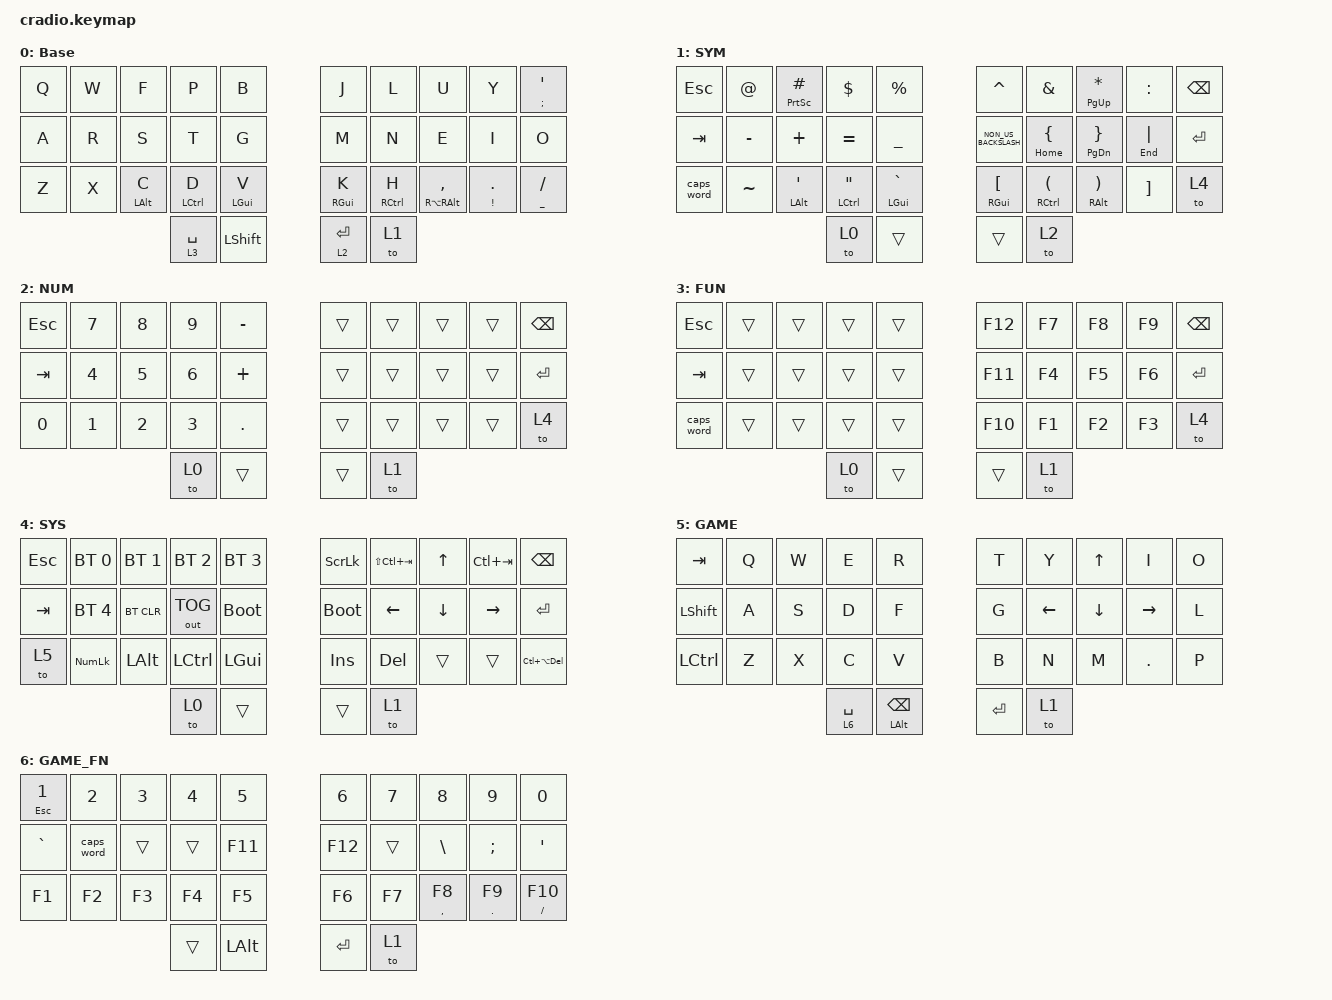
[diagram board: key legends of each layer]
/*
 * Copyright (c) 2020 The ZMK Contributors
 *
 * SPDX-License-Identifier: MIT
 */

#define ZMK_POINTING_DEFAULT_MOVE_VAL 2500  // 600
#define ZMK_POINTING_DEFAULT_SCRL_VAL 20    // 10

#include <behaviors.dtsi>
#include <dt-bindings/zmk/bt.h>
#include <dt-bindings/zmk/keys.h>
#include <dt-bindings/zmk/outputs.h>

// Layer definitions

#define BASE 0
#define SYM 1
#define EXT 2
#define FNC 3
#define SYM2 4
#define ACCENT 5
#define SETTINGS 6

// -----------------

&mt {
    //  flavor = "tap-preferred";
    // tapping_term_ms = <200>;
};

&sk { ignore-modifiers; };

/ {
    macros {
        // sometimes my device thinks a modifier is being held down
        // pressing all modifiers fixes it.

        unstick: unstick {
            label = "ZM_unstick";
            compatible = "zmk,behavior-macro";
            #binding-cells = <0>;
            bindings = <&kp LSHIFT &kp RSHIFT &kp LCTRL &kp RCTRL &kp LALT &kp RALT &kp LGUI &kp RGUI>;
        };
    };

    combos {
        compatible = "zmk,combos";

        // both right thumb keys

        combo_accent {
            timeout-ms = <300>;
            key-positions = <32 33>;
            bindings = <&mo 6>;
        };

        // internal-left & external-right thumb keys

        combo_sym2 {
            timeout-ms = <200>;
            key-positions = <31 33>;
            bindings = <&mo 4>;
        };

        // both left thumb keys

        combo_settings {
            timeout-ms = <300>;
            key-positions = <30 31>;
            bindings = <&mo 0>;
        };

        Cut {
            bindings = <&kp LC(X)>;
            key-positions = <20 21 22>;
        };

        copy {
            bindings = <&kp LC(C)>;
            key-positions = <21 22 23>;
        };

        paste {
            bindings = <&kp LC(V)>;
            key-positions = <24 23 22>;
        };
    };

    keymap {
        compatible = "zmk,keymap";

        // Base alpha layer

        Base {
            bindings = <
&kp Q  &kp W  &kp F           &kp P        &kp B             &kp J            &kp L        &kp U                    &kp Y                   &mt SEMICOLON SQT
&kp A  &kp R  &kp S           &kp T        &kp G             &kp M            &kp N        &kp E                    &kp I                   &kp O
&kp Z  &kp X  &mt LEFT_ALT C  &mt LCTRL D  &mt LEFT_GUI V    &mt RIGHT_GUI K  &mt RCTRL H  &mt RA(RIGHT_ALT) COMMA  &mt EXCLAMATION PERIOD  &mt UNDERSCORE SLASH
                              &lt 3 SPACE  &kp LSHIFT        &lt 2 ENTER      &to 1
            >;
        };

        SYM {
            bindings = <
&kp ESCAPE  &kp AT_SIGN  &mt PRINTSCREEN HASH  &kp DOLLAR               &kp PERCENT           &kp CARET                   &kp AMPERSAND               &mt PAGE_UP ASTERISK             &kp COLON          &kp BACKSPACE
&kp TAB     &kp MINUS    &kp PLUS              &kp EQUAL                &kp UNDERSCORE        &kp NON_US_BACKSLASH        &mt HOME LEFT_BRACE         &mt PAGE_DOWN RIGHT_BRACE        &mt END PIPE       &kp ENTER
&caps_word  &kp TILDE    &mt LEFT_ALT SQT      &mt LCTRL DOUBLE_QUOTES  &mt LEFT_GUI GRAVE    &mt RIGHT_GUI LEFT_BRACKET  &mt RCTRL LEFT_PARENTHESIS  &mt RIGHT_ALT RIGHT_PARENTHESIS  &kp RIGHT_BRACKET  &to 4
                                               &to 0                    &trans                &trans                      &to 2
            >;
        };

        NUM {
            bindings = <
&kp ESC       &kp NUMBER_7  &kp NUMBER_8  &kp NUMBER_9  &kp MINUS     &trans  &trans  &trans  &trans  &kp BACKSPACE
&kp TAB       &kp NUMBER_4  &kp NUMBER_5  &kp NUMBER_6  &kp PLUS      &trans  &trans  &trans  &trans  &kp ENTER
&kp NUMBER_0  &kp NUMBER_1  &kp NUMBER_2  &kp NUMBER_3  &kp PERIOD    &trans  &trans  &trans  &trans  &to 4
                                          &to 0         &trans        &trans  &to 1
            >;
        };

        FUN {
            bindings = <
&kp ESCAPE  &trans  &trans  &trans  &trans    &kp F12  &kp F7  &kp F8  &kp F9  &kp BACKSPACE
&kp TAB     &trans  &trans  &trans  &trans    &kp F11  &kp F4  &kp F5  &kp F6  &kp ENTER
&caps_word  &trans  &trans  &trans  &trans    &kp F10  &kp F1  &kp F2  &kp F3  &to 4
                            &to 0   &trans    &trans   &to 1
            >;
        };

        SYS {
            bindings = <
&kp ESCAPE  &bt BT_SEL 0    &bt BT_SEL 1  &bt BT_SEL 2  &bt BT_SEL 3    &kp SCROLLLOCK  &kp LS(LC(TAB))  &kp UP_ARROW    &kp LC(TAB)      &kp BACKSPACE
&kp TAB     &bt BT_SEL 4    &bt BT_CLR    &out OUT_TOG  &bootloader     &bootloader     &kp LEFT_ARROW   &kp DOWN_ARROW  &kp RIGHT_ARROW  &kp ENTER
&to 5       &kp KP_NUMLOCK  &kp LEFT_ALT  &kp LCTRL     &kp LEFT_GUI    &kp INSERT      &kp DELETE       &trans          &trans           &kp LC(LA(DELETE))
                                          &to 0         &trans          &trans          &to 1
            >;
        };

        GAME {
            bindings = <
&kp TAB    &kp Q  &kp W  &kp E        &kp R                     &kp T      &kp Y     &kp UP    &kp I      &kp O
&kp LSHFT  &kp A  &kp S  &kp D        &kp F                     &kp G      &kp LEFT  &kp DOWN  &kp RIGHT  &kp L
&kp LCTRL  &kp Z  &kp X  &kp C        &kp V                     &kp B      &kp N     &kp M     &kp DOT    &kp P
                         &lt 6 SPACE  &mt LEFT_ALT BACKSPACE    &kp ENTER  &to 1
            >;
        };

        GAME_FN {
            bindings = <
&mt ESC NUMBER_1  &kp N2      &kp N3  &kp N4  &kp N5          &kp N6     &kp N7  &kp N8        &kp N9         &kp N0
&kp GRAVE         &caps_word  &trans  &trans  &kp F11         &kp F12    &trans  &kp BSLH      &kp SEMI       &kp APOS
&kp F1            &kp F2      &kp F3  &kp F4  &kp F5          &kp F6     &kp F7  &mt COMMA F8  &mt PERIOD F9  &mt SLASH F10
                                      &trans  &kp LEFT_ALT    &kp ENTER  &to 1
            >;
        };

        // Used to change the keyboard's settings.GAME_FN {};
    };
};
